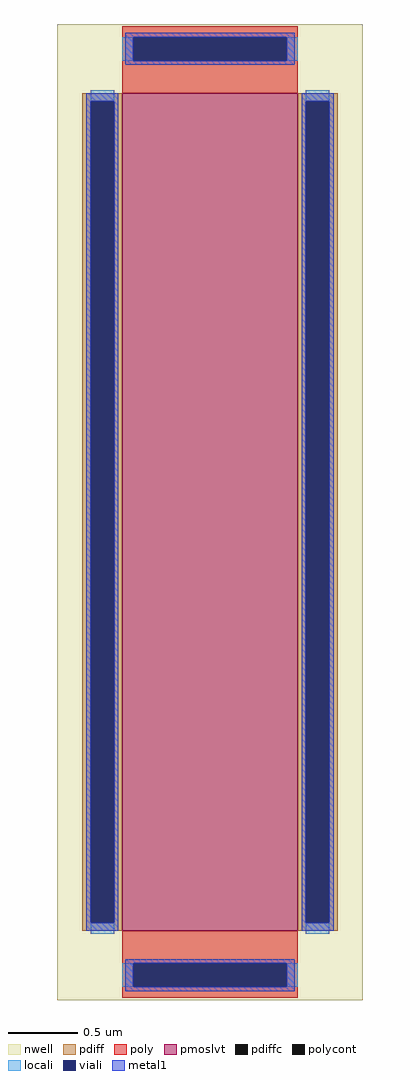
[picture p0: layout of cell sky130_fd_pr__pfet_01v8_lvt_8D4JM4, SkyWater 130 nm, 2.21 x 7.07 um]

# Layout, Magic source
magic
tech sky130A
magscale 1 2
<< nwell >>
rect -221 -707 221 707
<< pmoslvt >>
rect -127 -607 127 607
<< pdiff >>
rect -185 595 -127 607
rect -185 -595 -173 595
rect -139 -595 -127 595
rect -185 -607 -127 -595
rect 127 595 185 607
rect 127 -595 139 595
rect 173 -595 185 595
rect 127 -607 185 -595
<< pdiffc >>
rect -173 -595 -139 595
rect 139 -595 173 595
<< poly >>
rect -127 688 127 704
rect -127 654 -111 688
rect 111 654 127 688
rect -127 607 127 654
rect -127 -654 127 -607
rect -127 -688 -111 -654
rect 111 -688 127 -654
rect -127 -704 127 -688
<< polycont >>
rect -111 654 111 688
rect -111 -688 111 -654
<< locali >>
rect -127 654 -111 688
rect 111 654 127 688
rect -173 595 -139 611
rect -173 -611 -139 -595
rect 139 595 173 611
rect 139 -611 173 -595
rect -127 -688 -111 -654
rect 111 -688 127 -654
<< viali >>
rect -111 654 111 688
rect -173 -595 -139 595
rect 139 -595 173 595
rect -111 -688 111 -654
<< metal1 >>
rect -123 688 123 694
rect -123 654 -111 688
rect 111 654 123 688
rect -123 648 123 654
rect -179 595 -133 607
rect -179 -595 -173 595
rect -139 -595 -133 595
rect -179 -607 -133 -595
rect 133 595 179 607
rect 133 -595 139 595
rect 173 -595 179 595
rect 133 -607 179 -595
rect -123 -654 123 -648
rect -123 -688 -111 -654
rect 111 -688 123 -654
rect -123 -694 123 -688
<< properties >>
string gencell sky130_fd_pr__pfet_01v8_lvt
string library sky130
string parameters w 6.07 l 1.27 m 1 nf 1 diffcov 100 polycov 100 guard 0 glc 0 grc 0 gtc 0 gbc 0 tbcov 100 rlcov 100 topc 1 botc 1 poverlap 0 doverlap 1 lmin 0.35 wmin 0.42 compatible {sky130_fd_pr__pfet_01v8  sky130_fd_pr__pfet_01v8_lvt sky130_fd_pr__pfet_01v8_hvt  sky130_fd_pr__pfet_g5v0d10v5} full_metal 0 viasrc 100 viadrn 100 viagate 100 viagb 0 viagr 0 viagl 0 viagt 0
<< end >>
